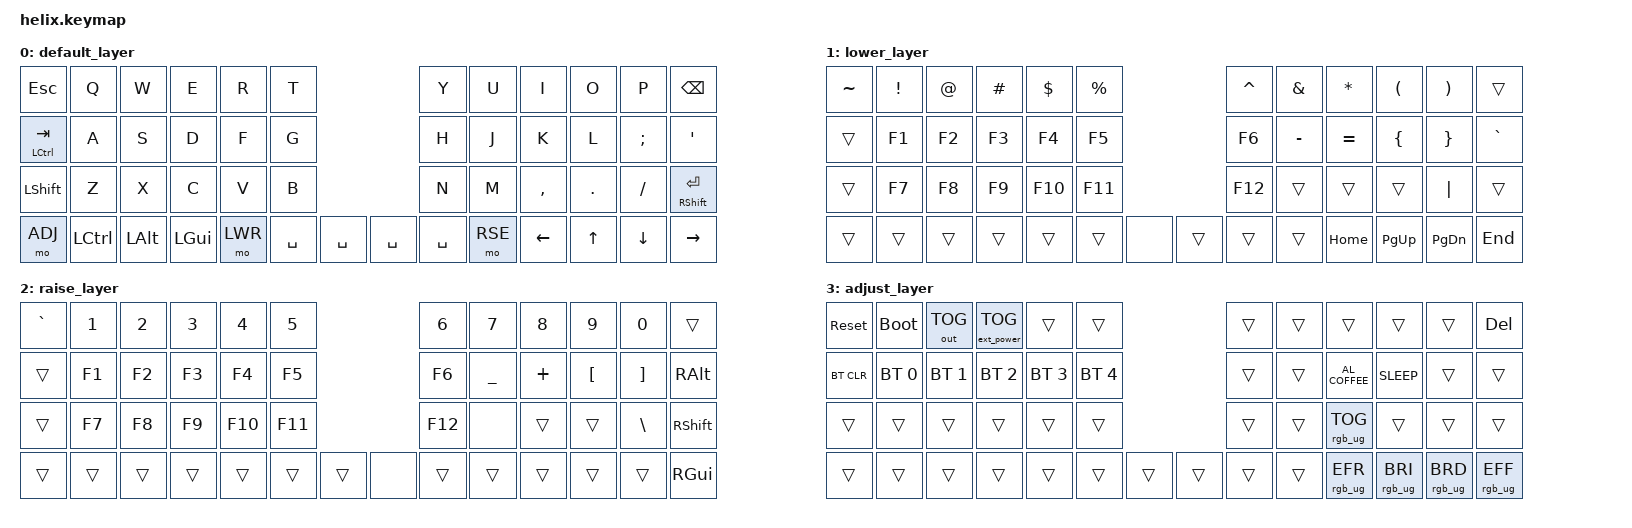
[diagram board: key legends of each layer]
/*
 * Copyright (c) 2020 The ZMK Contributors
 *
 * SPDX-License-Identifier: MIT
 */

#include <behaviors.dtsi>
#include <dt-bindings/zmk/keys.h>
#include <dt-bindings/zmk/bt.h>
#include <dt-bindings/zmk/rgb.h>
#include <dt-bindings/zmk/outputs.h>
#include <dt-bindings/zmk/ext_power.h>

#define DEFAULT 0
#define LWR     1
#define RSE     2
#define ADJ     3

/ {
  keymap {
    compatible = "zmk,keymap";

    default_layer {
      bindings = <
&kp ESC        &kp Q     &kp W    &kp E    &kp R    &kp T                         &kp Y     &kp U    &kp I     &kp O    &kp P    &kp BSPC
&mt LCTRL TAB  &kp A     &kp S    &kp D    &kp F    &kp G                         &kp H     &kp J    &kp K     &kp L    &kp SEMI &kp SQT
&kp LSHFT      &kp Z     &kp X    &kp C    &kp V    &kp B                         &kp N     &kp M    &kp COMMA &kp DOT  &kp FSLH &mt RSHFT RET
&mo ADJ        &kp LCTRL &kp LALT &kp LGUI &mo LWR  &kp SPACE &kp SPACE &kp SPACE &kp SPACE &mo RSE  &kp LEFT  &kp UP   &kp DOWN &kp RIGHT
      >;
    };

    lower_layer {
      bindings = <
&kp TILDE &kp EXCL  &kp AT    &kp HASH  &kp DLLR &kp PRCNT                     &kp CARET &kp AMPS  &kp STAR  &kp LPAR  &kp RPAR  &trans
&trans    &kp F1    &kp F2    &kp F3    &kp F4   &kp F5                        &kp F6    &kp MINUS &kp EQUAL &kp LBRC  &kp RBRC  &kp GRAVE
&trans    &kp F7    &kp F8    &kp F9    &kp F10  &kp F11                       &kp F12   &trans    &trans    &trans    &kp PIPE  &trans
&trans    &trans    &trans    &trans    &trans   &trans    &none     &trans    &trans    &trans    &kp HOME  &kp PG_UP &kp PG_DN &kp END
      >;
    };

    raise_layer {
      bindings = <
&kp GRAVE &kp N1    &kp N2    &kp N3    &kp N4    &kp N5                        &kp N6    &kp N7    &kp N8   &kp N9    &kp N0     &trans
&trans    &kp F1    &kp F2    &kp F3    &kp F4    &kp F5                        &kp F6    &kp UNDER &kp PLUS &kp LBKT  &kp RBKT   &kp RALT
&trans    &kp F7    &kp F8    &kp F9    &kp F10   &kp F11                       &kp F12   &none     &trans   &trans    &kp BSLH   &kp RSHFT
&trans    &trans    &trans    &trans    &trans    &trans    &trans    &none     &trans    &trans    &trans   &trans    &trans     &kp RGUI    
      >;
    };

    adjust_layer {
      bindings = <
&sys_reset  &bootloader  &out OUT_TOG &ext_power EP_TOG &trans       &trans                        &trans    &trans    &trans          &trans          &trans          &kp DEL
&bt BT_CLR  &bt BT_SEL 0 &bt BT_SEL 1 &bt BT_SEL 2      &bt BT_SEL 3 &bt BT_SEL 4                  &trans    &trans    &kp C_AL_COFFEE &kp C_SLEEP     &trans          &trans
&trans      &trans       &trans       &trans            &trans       &trans                        &trans    &trans    &rgb_ug RGB_TOG &trans          &trans          &trans
&trans      &trans       &trans       &trans            &trans       &trans    &trans    &trans    &trans    &trans    &rgb_ug RGB_EFR &rgb_ug RGB_BRI &rgb_ug RGB_BRD &rgb_ug RGB_EFF
      >;
    };
  };
};
